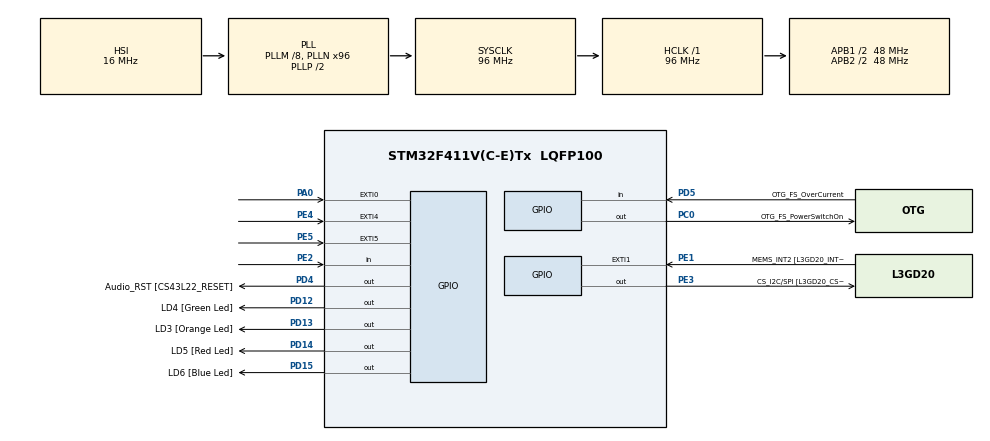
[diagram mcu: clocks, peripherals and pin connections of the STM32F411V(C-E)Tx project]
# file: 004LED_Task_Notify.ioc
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Mcu.Family=STM32F4
Mcu.Name=STM32F411V(C-E)Tx
Mcu.Package=LQFP100
NVIC.PriorityGroup=NVIC_PRIORITYGROUP_4
NVIC.TIM5_IRQn=true\:0\:0\:false\:false\:true\:false\:true\:true
NVIC.TimeBase=TIM5_IRQn
NVIC.TimeBaseIP=TIM5
PA0-WKUP.GPIO_ModeDefaultEXTI=GPIO_MODE_EVT_RISING
PA0-WKUP.Signal=GPXTI0
PA10.GPIO_Label=OTG_FS_ID
PA10.Signal=USB_OTG_FS_ID
PA11.GPIO_Label=OTG_FS_DM
PA11.Signal=USB_OTG_FS_DM
PA12.GPIO_Label=OTG_FS_DP
PA12.Signal=USB_OTG_FS_DP
PA13.GPIO_Label=SWDIO
PA13.Signal=SYS_JTMS-SWDIO
PA14.GPIO_Label=SWCLK
PA14.Signal=SYS_JTCK-SWCLK
PA4.GPIO_Label=I2S3_WS [CS43L22_LRCK]
PA4.GPIO_Mode=GPIO_MODE_AF_PP
PA4.GPIO_PuPd=GPIO_NOPULL
PA4.GPIO_Speed=GPIO_SPEED_FREQ_LOW
PA4.Signal=I2S3_WS
PA5.GPIO_Label=SPI1_SCK [L3GD20_SC/SPC]
PA5.Signal=SPI1_SCK
PA6.GPIO_Label=SPI1_MISO [L3GD20_AS0/SDO]
PA6.Signal=SPI1_MISO
PA7.GPIO_Label=SPI1_MOSI [L3GD20_SDA/SDI/SDO]
PA7.Signal=SPI1_MOSI
PA9.GPIO_Label=VBUS_FS
PA9.Signal=USB_OTG_FS_VBUS
PB10.GPIO_Label=CLK_IN [MP45DT02_CLK]
PB10.Signal=I2S2_CK
PB12.Signal=I2S2_WS
PB3.GPIO_Label=SWO
PB3.Signal=SYS_JTDO-SWO
PB6.GPIO_Label=Audio_SCL [CS43L22_SCL]
PB6.GPIO_Mode=GPIO_MODE_AF_OD
PB6.GPIO_PuPd=GPIO_NOPULL
PB6.GPIO_Speed=GPIO_SPEED_FREQ_LOW
PB6.Signal=I2C1_SCL
PB9.GPIO_Label=Audio_SDA [CS43L22_SDA]
PB9.GPIO_Mode=GPIO_MODE_AF_OD
PB9.GPIO_PuPd=GPIO_NOPULL
PB9.GPIO_Speed=GPIO_SPEED_FREQ_LOW
PB9.Signal=I2C1_SDA
PC0.GPIO_Label=OTG_FS_PowerSwitchOn
PC0.PinState=GPIO_PIN_SET
PC0.Signal=GPIO_Output
PC10.GPIO_Label=I2S3_SCK [CS43L22_SCLK]
PC10.GPIO_Mode=GPIO_MODE_AF_PP
PC10.GPIO_PuPd=GPIO_NOPULL
PC10.GPIO_Speed=GPIO_SPEED_FREQ_LOW
PC10.Signal=I2S3_CK
PC12.GPIO_Label=I2S3_SD [CS43L22_SDIN]
PC12.GPIO_Mode=GPIO_MODE_AF_PP
PC12.GPIO_PuPd=GPIO_NOPULL
PC12.GPIO_Speed=GPIO_SPEED_FREQ_LOW
PC12.Signal=I2S3_SD
PC14-OSC32_IN.GPIO_Label=PC14-OSC32_IN
PC14-OSC32_IN.Signal=RCC_OSC32_IN
PC15-OSC32_OUT.GPIO_Label=PC15-OSC32_OUT
PC15-OSC32_OUT.Signal=RCC_OSC32_OUT
PC3.GPIO_Label=PDM_OUT [MP45DT02_DOUT]
PC3.Signal=I2S2_SD
PC7.GPIO_Label=I2S3_MCK [CS43L22_MCLK]
PC7.GPIO_Mode=GPIO_MODE_AF_PP
PC7.GPIO_PuPd=GPIO_NOPULL
PC7.GPIO_Speed=GPIO_SPEED_FREQ_LOW
PC7.Signal=I2S3_MCK
PD12.GPIO_Label=LD4 [Green Led]
PD12.GPIO_PuPd=GPIO_NOPULL
PD12.GPIO_Speed=GPIO_SPEED_FREQ_LOW
PD12.Signal=GPIO_Output
PD13.GPIO_Label=LD3 [Orange Led]
PD13.GPIO_PuPd=GPIO_NOPULL
PD13.GPIO_Speed=GPIO_SPEED_FREQ_LOW
PD13.Signal=GPIO_Output
PD14.GPIO_Label=LD5 [Red Led]
PD14.GPIO_PuPd=GPIO_NOPULL
PD14.GPIO_Speed=GPIO_SPEED_FREQ_LOW
PD14.Signal=GPIO_Output
PD15.GPIO_Label=LD6 [Blue Led]
PD15.GPIO_PuPd=GPIO_NOPULL
PD15.GPIO_Speed=GPIO_SPEED_FREQ_LOW
PD15.Signal=GPIO_Output
PD4.GPIO_Label=Audio_RST [CS43L22_RESET]
PD4.Signal=GPIO_Output
PD5.GPIO_Label=OTG_FS_OverCurrent
PD5.Signal=GPIO_Input
PE1.GPIO_Label=MEMS_INT2 [L3GD20_INT2]
PE1.GPIO_ModeDefaultEXTI=GPIO_MODE_EVT_RISING
PE1.Signal=GPXTI1
PE2.Signal=GPIO_Input
PE3.GPIO_Label=CS_I2C/SPI [L3GD20_CS_I2C/SPI]
PE3.Signal=GPIO_Output
PE4.GPIO_ModeDefaultEXTI=GPIO_MODE_EVT_RISING
PE4.Signal=GPXTI4
PE5.GPIO_ModeDefaultEXTI=GPIO_MODE_EVT_RISING
PE5.Signal=GPXTI5
PH0\ -\ OSC_IN.GPIO_Label=PH0-OSC_IN
PH0\ -\ OSC_IN.Signal=RCC_OSC_IN
PH1\ -\ OSC_OUT.GPIO_Label=PH1-OSC_OUT
PH1\ -\ OSC_OUT.Signal=RCC_OSC_OUT
ProjectManager.HeapSize=0x200
ProjectManager.StackSize=0x400
ProjectManager.TargetToolchain=STM32CubeIDE
RCC.48MHZClocksFreq_Value=24000000
RCC.AHBFreq_Value=96000000
RCC.APB1CLKDivider=RCC_HCLK_DIV2
RCC.APB1Freq_Value=48000000
RCC.APB1TimFreq_Value=96000000
RCC.APB2CLKDivider=RCC_HCLK_DIV2
RCC.APB2Freq_Value=48000000
RCC.APB2TimFreq_Value=96000000
RCC.CortexFreq_Value=96000000
RCC.HCLKFreq_Value=96000000
RCC.HSE_VALUE=8000000
RCC.HSI_VALUE=16000000
RCC.LSE_VALUE=32768
RCC.PLLI2SM=5
RCC.PLLI2SN=200
RCC.PLLM=8
RCC.PLLN=96
RCC.PLLQ=8
RCC.SYSCLKFreq_VALUE=96000000
RCC.SYSCLKSource=RCC_SYSCLKSOURCE_PLLCLK
RCC.VCOOutputFreq_Value=192000000
VP_SYS_VS_tim5.Mode=TIM5
board=STM32F411E-DISCO

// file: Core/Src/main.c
/* USER CODE BEGIN Header */
/**
  ******************************************************************************
  * @file           : main.c
  * @brief          : Main program body
  ******************************************************************************
  * @attention
  *
  * Copyright (c) 2024 STMicroelectronics.
  * All rights reserved.
  *
  * This software is licensed under terms that can be found in the LICENSE file
  * in the root directory of this software component.
  * If no LICENSE file comes with this software, it is provided AS-IS.
  *
  ******************************************************************************
  */
/* USER CODE END Header */
#include "main.h"

/* USER CODE BEGIN Includes */
#include "FreeRTOS.h"
#include "task.h"
/* USER CODE END Includes */

/* USER CODE BEGIN PV */
#define DWT_CTRL 				(*(volatile uint32_t *)0xE0001000)
/* USER CODE END PV */

void SystemClock_Config(void);
static void MX_GPIO_Init(void);

/* USER CODE BEGIN 0 */
static void led_green_handler(void *parameters);
static void led_orange_handler(void *parameters);
static void led_red_handler(void *parameters);
static void button_handler(void *parameters);

TaskHandle_t led_green_h;
TaskHandle_t led_orange_h;
TaskHandle_t led_red_h;
TaskHandle_t button_h;

TaskHandle_t volatile next_task_handle = NULL;
/* USER CODE END 0 */

int main(void)
{

  /* USER CODE BEGIN 1 */
  BaseType_t status;
  /* USER CODE END 1 */

  /* MCU Configuration--------------------------------------------------------*/

  /* Reset of all peripherals, Initializes the Flash interface and the Systick. */
  HAL_Init();

  /* Configure the system clock */
  SystemClock_Config();

  /* Initialize all configured peripherals */
  MX_GPIO_Init();
  /* USER CODE BEGIN 2 */
  DWT_CTRL |= ( 1 << 0 );	// Enable the CyCCNT counter
  SEGGER_SYSVIEW_Conf();
  SEGGER_SYSVIEW_Start();	// Single-shot viewer

  status = xTaskCreate(led_green_handler, "LED-Green-Task", 200, NULL, 3, &led_green_h);
  configASSERT(status == pdPASS);

  next_task_handle = led_green_h;

  status = xTaskCreate(led_orange_handler, "LED-Green-Task", 200, NULL, 2, &led_orange_h);
  configASSERT(status == pdPASS);

  status = xTaskCreate(led_red_handler, "LED-Green-Task", 200, NULL, 1, &led_red_h);
  configASSERT(status == pdPASS);

  status = xTaskCreate(button_handler, "Button-Task", 200, NULL, 4, &button_h);
  configASSERT(status == pdPASS);

  /* USER CODE END 2 */

  vTaskStartScheduler();

  /* Infinite loop */
  while (1)
  {

  }
}

void SystemClock_Config(void)
{
  RCC_OscInitTypeDef RCC_OscInitStruct = {0};
  RCC_ClkInitTypeDef RCC_ClkInitStruct = {0};

  /** Configure the main internal regulator output voltage
  */
  __HAL_RCC_PWR_CLK_ENABLE();
  __HAL_PWR_VOLTAGESCALING_CONFIG(PWR_REGULATOR_VOLTAGE_SCALE1);

  /** Initializes the RCC Oscillators according to the specified parameters
  * in the RCC_OscInitTypeDef structure.
  */
  RCC_OscInitStruct.OscillatorType = RCC_OSCILLATORTYPE_HSI;
  RCC_OscInitStruct.HSIState = RCC_HSI_ON;
  RCC_OscInitStruct.HSICalibrationValue = RCC_HSICALIBRATION_DEFAULT;
  RCC_OscInitStruct.PLL.PLLState = RCC_PLL_ON;
  RCC_OscInitStruct.PLL.PLLSource = RCC_PLLSOURCE_HSI;
  RCC_OscInitStruct.PLL.PLLM = 8;
  RCC_OscInitStruct.PLL.PLLN = 96;
  RCC_OscInitStruct.PLL.PLLP = RCC_PLLP_DIV2;
  RCC_OscInitStruct.PLL.PLLQ = 8;
  if (HAL_RCC_OscConfig(&RCC_OscInitStruct) != HAL_OK)
  {
    Error_Handler();
  }

  /** Initializes the CPU, AHB and APB buses clocks
  */
  RCC_ClkInitStruct.ClockType = RCC_CLOCKTYPE_HCLK|RCC_CLOCKTYPE_SYSCLK
                              |RCC_CLOCKTYPE_PCLK1|RCC_CLOCKTYPE_PCLK2;
  RCC_ClkInitStruct.SYSCLKSource = RCC_SYSCLKSOURCE_PLLCLK;
  RCC_ClkInitStruct.AHBCLKDivider = RCC_SYSCLK_DIV1;
  RCC_ClkInitStruct.APB1CLKDivider = RCC_HCLK_DIV2;
  RCC_ClkInitStruct.APB2CLKDivider = RCC_HCLK_DIV2;

  if (HAL_RCC_ClockConfig(&RCC_ClkInitStruct, FLASH_LATENCY_3) != HAL_OK)
  {
    Error_Handler();
  }
}

static void MX_GPIO_Init(void)
{
  GPIO_InitTypeDef GPIO_InitStruct = {0};

  /* GPIO Ports Clock Enable */
  __HAL_RCC_GPIOE_CLK_ENABLE();
  __HAL_RCC_GPIOC_CLK_ENABLE();
  __HAL_RCC_GPIOH_CLK_ENABLE();
  __HAL_RCC_GPIOA_CLK_ENABLE();
  __HAL_RCC_GPIOB_CLK_ENABLE();
  __HAL_RCC_GPIOD_CLK_ENABLE();

  /*Configure GPIO pin Output Level */
  HAL_GPIO_WritePin(CS_I2C_SPI_GPIO_Port, CS_I2C_SPI_Pin, GPIO_PIN_RESET);

  /*Configure GPIO pin Output Level */
  HAL_GPIO_WritePin(OTG_FS_PowerSwitchOn_GPIO_Port, OTG_FS_PowerSwitchOn_Pin, GPIO_PIN_SET);

  /*Configure GPIO pin Output Level */
  HAL_GPIO_WritePin(GPIOD, LD4_Pin|LD3_Pin|LD5_Pin|LD6_Pin
                          |Audio_RST_Pin, GPIO_PIN_RESET);

  /*Configure GPIO pin : PE2 */
  GPIO_InitStruct.Pin = GPIO_PIN_2;
  GPIO_InitStruct.Mode = GPIO_MODE_INPUT;
  GPIO_InitStruct.Pull = GPIO_NOPULL;
  HAL_GPIO_Init(GPIOE, &GPIO_InitStruct);

  /*Configure GPIO pin : CS_I2C_SPI_Pin */
  GPIO_InitStruct.Pin = CS_I2C_SPI_Pin;
  GPIO_InitStruct.Mode = GPIO_MODE_OUTPUT_PP;
  GPIO_InitStruct.Pull = GPIO_NOPULL;
  GPIO_InitStruct.Speed = GPIO_SPEED_FREQ_LOW;
  HAL_GPIO_Init(CS_I2C_SPI_GPIO_Port, &GPIO_InitStruct);

  /*Configure GPIO pins : PE4 PE5 MEMS_INT2_Pin */
  GPIO_InitStruct.Pin = GPIO_PIN_4|GPIO_PIN_5|MEMS_INT2_Pin;
  GPIO_InitStruct.Mode = GPIO_MODE_EVT_RISING;
  GPIO_InitStruct.Pull = GPIO_NOPULL;
  HAL_GPIO_Init(GPIOE, &GPIO_InitStruct);

  /*Configure GPIO pin : OTG_FS_PowerSwitchOn_Pin */
  GPIO_InitStruct.Pin = OTG_FS_PowerSwitchOn_Pin;
  GPIO_InitStruct.Mode = GPIO_MODE_OUTPUT_PP;
  GPIO_InitStruct.Pull = GPIO_NOPULL;
  GPIO_InitStruct.Speed = GPIO_SPEED_FREQ_LOW;
  HAL_GPIO_Init(OTG_FS_PowerSwitchOn_GPIO_Port, &GPIO_InitStruct);

  /*Configure GPIO pin : PDM_OUT_Pin */
  GPIO_InitStruct.Pin = PDM_OUT_Pin;
  GPIO_InitStruct.Mode = GPIO_MODE_AF_PP;
  GPIO_InitStruct.Pull = GPIO_NOPULL;
  GPIO_InitStruct.Speed = GPIO_SPEED_FREQ_LOW;
  GPIO_InitStruct.Alternate = GPIO_AF5_SPI2;
  HAL_GPIO_Init(PDM_OUT_GPIO_Port, &GPIO_InitStruct);

  /*Configure GPIO pin : PA0 */
  GPIO_InitStruct.Pin = GPIO_PIN_0;
  GPIO_InitStruct.Mode = GPIO_MODE_EVT_RISING;
  GPIO_InitStruct.Pull = GPIO_NOPULL;
  HAL_GPIO_Init(GPIOA, &GPIO_InitStruct);

  /*Configure GPIO pin : I2S3_WS_Pin */
  GPIO_InitStruct.Pin = I2S3_WS_Pin;
  GPIO_InitStruct.Mode = GPIO_MODE_AF_PP;
  GPIO_InitStruct.Pull = GPIO_NOPULL;
  GPIO_InitStruct.Speed = GPIO_SPEED_FREQ_LOW;
  GPIO_InitStruct.Alternate = GPIO_AF6_SPI3;
  HAL_GPIO_Init(I2S3_WS_GPIO_Port, &GPIO_InitStruct);

  /*Configure GPIO pins : SPI1_SCK_Pin SPI1_MISO_Pin SPI1_MOSI_Pin */
  GPIO_InitStruct.Pin = SPI1_SCK_Pin|SPI1_MISO_Pin|SPI1_MOSI_Pin;
  GPIO_InitStruct.Mode = GPIO_MODE_AF_PP;
  GPIO_InitStruct.Pull = GPIO_NOPULL;
  GPIO_InitStruct.Speed = GPIO_SPEED_FREQ_VERY_HIGH;
  GPIO_InitStruct.Alternate = GPIO_AF5_SPI1;
  HAL_GPIO_Init(GPIOA, &GPIO_InitStruct);

  /*Configure GPIO pins : CLK_IN_Pin PB12 */
  GPIO_InitStruct.Pin = CLK_IN_Pin|GPIO_PIN_12;
  GPIO_InitStruct.Mode = GPIO_MODE_AF_PP;
  GPIO_InitStruct.Pull = GPIO_NOPULL;
  GPIO_InitStruct.Speed = GPIO_SPEED_FREQ_LOW;
  GPIO_InitStruct.Alternate = GPIO_AF5_SPI2;
  HAL_GPIO_Init(GPIOB, &GPIO_InitStruct);

  /*Configure GPIO pins : LD4_Pin LD3_Pin LD5_Pin LD6_Pin
                           Audio_RST_Pin */
  GPIO_InitStruct.Pin = LD4_Pin|LD3_Pin|LD5_Pin|LD6_Pin
                          |Audio_RST_Pin;
  GPIO_InitStruct.Mode = GPIO_MODE_OUTPUT_PP;
  GPIO_InitStruct.Pull = GPIO_NOPULL;
  GPIO_InitStruct.Speed = GPIO_SPEED_FREQ_LOW;
  HAL_GPIO_Init(GPIOD, &GPIO_InitStruct);

  /*Configure GPIO pins : I2S3_MCK_Pin I2S3_SCK_Pin I2S3_SD_Pin */
  GPIO_InitStruct.Pin = I2S3_MCK_Pin|I2S3_SCK_Pin|I2S3_SD_Pin;
  GPIO_InitStruct.Mode = GPIO_MODE_AF_PP;
  GPIO_InitStruct.Pull = GPIO_NOPULL;
  GPIO_InitStruct.Speed = GPIO_SPEED_FREQ_LOW;
  GPIO_InitStruct.Alternate = GPIO_AF6_SPI3;
  HAL_GPIO_Init(GPIOC, &GPIO_InitStruct);

  /*Configure GPIO pin : VBUS_FS_Pin */
  GPIO_InitStruct.Pin = VBUS_FS_Pin;
  GPIO_InitStruct.Mode = GPIO_MODE_INPUT;
  GPIO_InitStruct.Pull = GPIO_NOPULL;
  HAL_GPIO_Init(VBUS_FS_GPIO_Port, &GPIO_InitStruct);

  /*Configure GPIO pins : OTG_FS_ID_Pin OTG_FS_DM_Pin OTG_FS_DP_Pin */
  GPIO_InitStruct.Pin = OTG_FS_ID_Pin|OTG_FS_DM_Pin|OTG_FS_DP_Pin;
  GPIO_InitStruct.Mode = GPIO_MODE_AF_PP;
  GPIO_InitStruct.Pull = GPIO_NOPULL;
  GPIO_InitStruct.Speed = GPIO_SPEED_FREQ_VERY_HIGH;
  GPIO_InitStruct.Alternate = GPIO_AF10_OTG_FS;
  HAL_GPIO_Init(GPIOA, &GPIO_InitStruct);

  /*Configure GPIO pin : OTG_FS_OverCurrent_Pin */
  GPIO_InitStruct.Pin = OTG_FS_OverCurrent_Pin;
  GPIO_InitStruct.Mode = GPIO_MODE_INPUT;
  GPIO_InitStruct.Pull = GPIO_NOPULL;
  HAL_GPIO_Init(OTG_FS_OverCurrent_GPIO_Port, &GPIO_InitStruct);

  /*Configure GPIO pins : Audio_SCL_Pin Audio_SDA_Pin */
  GPIO_InitStruct.Pin = Audio_SCL_Pin|Audio_SDA_Pin;
  GPIO_InitStruct.Mode = GPIO_MODE_AF_OD;
  GPIO_InitStruct.Pull = GPIO_NOPULL;
  GPIO_InitStruct.Speed = GPIO_SPEED_FREQ_LOW;
  GPIO_InitStruct.Alternate = GPIO_AF4_I2C1;
  HAL_GPIO_Init(GPIOB, &GPIO_InitStruct);

}

/* USER CODE BEGIN 4 */
static void led_green_handler(void *parameters)
{

	BaseType_t status;

	while(1)
	{

		SEGGER_SYSVIEW_PrintfTarget("Toggling green LED");
		HAL_GPIO_TogglePin(LD3_GPIO_Port, LD3_Pin);
		status = xTaskNotifyWait(0, 0, NULL, pdMS_TO_TICKS(1000));

		if(status == pdTRUE)
		{

			vTaskSuspendAll();
			next_task_handle = led_orange_h;
			xTaskResumeAll();

			SEGGER_SYSVIEW_PrintfTarget("Delete green LED");
			HAL_GPIO_WritePin(LD3_GPIO_Port, LD3_Pin, SET);
			//vTaskDelete(NULL);
			vTaskSuspend(NULL);

		}

	}

}

static void led_orange_handler(void *parameters)
{

	BaseType_t status;

	while(1)
	{

		SEGGER_SYSVIEW_PrintfTarget("Toggling orange LED");
		HAL_GPIO_TogglePin(LD4_GPIO_Port, LD4_Pin);
		status = xTaskNotifyWait(0, 0, NULL, pdMS_TO_TICKS(800));

		if(status == pdTRUE)
		{

			vTaskSuspendAll();
			next_task_handle = led_red_h;
			xTaskResumeAll();

			SEGGER_SYSVIEW_PrintfTarget("Delete orange LED");
			HAL_GPIO_WritePin(LD4_GPIO_Port, LD4_Pin, SET);
			//vTaskDelete(NULL);
			vTaskSuspend(NULL);

		}

	}

}

static void led_red_handler(void *parameters)
{

	BaseType_t status;

	while(1)
	{

		SEGGER_SYSVIEW_PrintfTarget("Toggling red LED");
		HAL_GPIO_TogglePin(LD5_GPIO_Port, LD5_Pin);
		status = xTaskNotifyWait(0, 0, NULL, pdMS_TO_TICKS(400));

		if(status == pdTRUE)
		{

			vTaskSuspendAll();
			next_task_handle = NULL;
			xTaskResumeAll();

			SEGGER_SYSVIEW_PrintfTarget("Delete red LED");
			HAL_GPIO_WritePin(LD5_GPIO_Port, LD5_Pin, SET);
			//vTaskDelete(button_h);
			//vTaskDelete(NULL);
			vTaskSuspend(NULL);

		}

	}

}

static void button_handler(void *parameters)
{

	uint8_t btn_read = 0;
	uint8_t btn_prev_read = 0;

	while(1)
	{

		btn_read = HAL_GPIO_ReadPin(GPIOA, GPIO_PIN_0);

		if(btn_read)
		{

			if(!btn_prev_read)
			{

				if(next_task_handle != NULL)
				{
					xTaskNotify(next_task_handle, 0, eNoAction);
				}
				else
				{

					vTaskResume(led_green_h);
					vTaskResume(led_orange_h);
					vTaskResume(led_red_h);

					next_task_handle = led_green_h;

				}

			}

		}

			btn_prev_read = btn_read;

			vTaskDelay(pdMS_TO_TICKS(10));

	}

}

/* USER CODE END 4 */

void HAL_TIM_PeriodElapsedCallback(TIM_HandleTypeDef *htim)
{
  if (htim->Instance == TIM5) {
    HAL_IncTick();
  }
}

void Error_Handler(void)
{
  __disable_irq();
  while (1)
  {
  }
}
